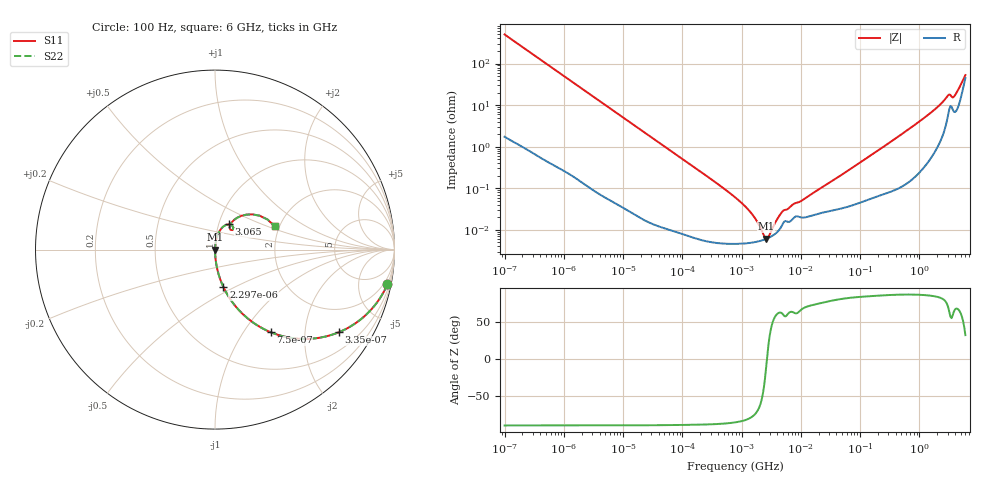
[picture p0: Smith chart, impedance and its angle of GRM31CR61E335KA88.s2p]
!Murata Part Number: GRM31CR61E335KA88
!These Parameters are Measured in Series Mode Connection
!Data Generated on Mar 30, 2021
!  o--ll--o
!Port1  Port2
!  o------o
!Operation Temp=25[degC], DC Bias Voltage=0[V]
!Freq. Start=100[Hz] Stop=6[GHz] 401[Steps]
# Hz S RI R 50
!Freq.(Hz) S11(Real) S11(Imag) S21(Real) S21(Imag) S12(Real) S12(Imag) S22(Real) S22(Imag)
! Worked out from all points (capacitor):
!   401 points, 100 Hz to 6 GHz, reference 50 ohm
!   read as one part in series: C = 3.19 uF near 109 Hz
!   lowest |Z| = 6.21 mohm at 2.595 MHz (marker M1)
!   series resonance near 2.685 MHz, so ESL is about 1.1 nH
!   S11 on the Smith chart (normalised r, x): 100 Hz: 1, -10; 335 Hz: 1.01, -2.99; 750 Hz: 1.01, -1.34; 2.297 kHz: 1.00, -0.44; 3.065 GHz: 1.12, +0.32; 6 GHz: 1.89, +0.56
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100  0.9608 -0.1924  0.0392 0.1924  0.0392 0.1924  0.9608 -0.1924
196  0.866 -0.3387  0.134 0.3387  0.134 0.3387  0.866 -0.3387
335  0.6898 -0.4604  0.3102 0.4604  0.3102 0.4604  0.6898 -0.4604
750  0.3099 -0.46  0.6901 0.46  0.6901 0.46  0.3099 -0.46
1227  0.1449 -0.3493  0.8551 0.3493  0.8551 0.3493  0.1449 -0.3493
2008  0.0603 -0.2352  0.9397 0.2352  0.9397 0.2352  0.0603 -0.2352
2297  0.0469 -0.2087  0.9531 0.2087  0.9531 0.2087  0.0469 -0.2087
7358  0.00513 -0.0683  0.9949 0.0683  0.9949 0.0683  0.00513 -0.0683
40335  0.00028 -0.0126  0.9997 0.0126  0.9997 0.0126  0.00028 -0.0126
774597  4.64e-05 -0.000608  1 0.000608  1 0.000608  4.64e-05 -0.000608
1386327  4.87e-05 -0.000272  1 0.000272  1 0.000272  4.87e-05 -0.000272
2169299  5.55e-05 -8.21e-05  0.9999 8.21e-05  0.9999 8.21e-05  5.55e-05 -8.21e-05
2594782  6.07e-05 -1.3e-05  0.9999 1.3e-05  0.9999 1.3e-05  6.07e-05 -1.3e-05
3245845  7.1e-05 7.35e-05  0.9999 -7.35e-05  0.9999 -7.35e-05  7.1e-05 7.35e-05
5079039  0.000148 0.000252  0.9999 -0.000252  0.9999 -0.000252  0.000148 0.000252
1.555665e7  0.000223 0.000712  0.9998 -0.000712  0.9998 -0.000712  0.000223 0.000712
3.124326e8  0.000956 0.0124  0.999 -0.0124  0.999 -0.0124  0.000956 0.0124
1.431855e9  0.00783 0.0585  0.9922 -0.0585  0.9922 -0.0585  0.00783 0.0585
3.065283e9  0.0764 0.1407  0.9236 -0.1407  0.9236 -0.1407  0.0764 0.1407
3.8344e9  0.0815 0.1223  0.9185 -0.1223  0.9185 -0.1223  0.0815 0.1223
5.016141e9  0.1747 0.1949  0.8253 -0.1949  0.8253 -0.1949  0.1747 0.1949
6e9  0.3334 0.1292  0.6666 -0.1292  0.6666 -0.1292  0.3334 0.1292
